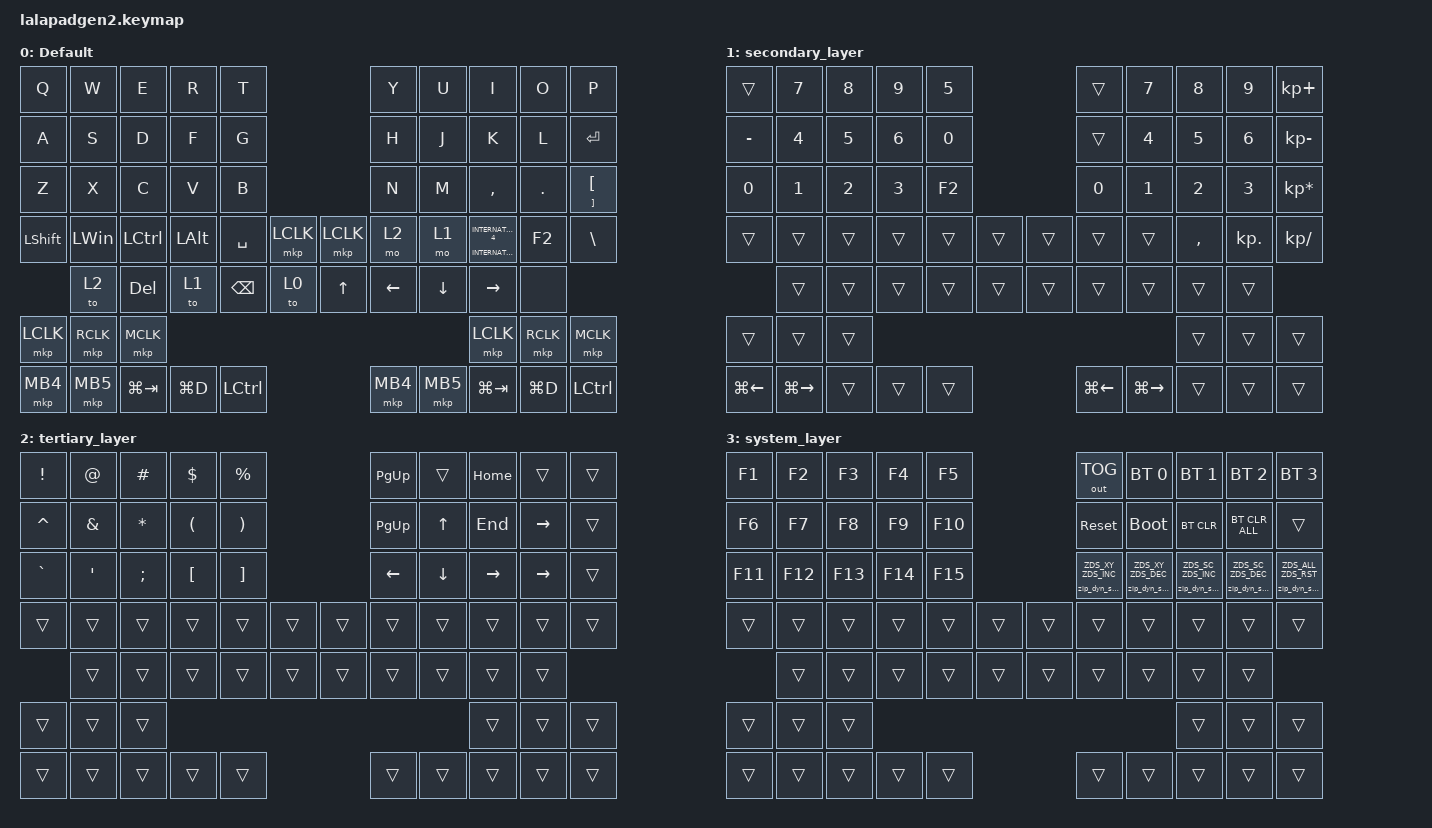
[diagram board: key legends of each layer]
#include <input/processors.dtsi>
#include <dt-bindings/zmk/zip_dynamic_scale.h>
#include <behaviors.dtsi>
#include <dt-bindings/zmk/bt.h>
#include <dt-bindings/zmk/keys.h>
#include <dt-bindings/zmk/outputs.h>
#include <dt-bindings/zmk/pointing.h>

#define DEFAULT_LAYER   0
#define SECONDARY_LAYER 1
#define TERTIARY_LAYER  2
#define SYSTEM_LAYER    3

&mt { quick-tap-ms = <200>; };

&lt { quick-tap-ms = <200>; };

/ {
    behaviors {
        zip_dyn_scale: zip_dyn_scale {
            compatible = "zmk,behavior-zip-dynamic-scale";
            #binding-cells = <2>;
        };

        zip_dyn_scale_set: zip_dyn_scale_set {
            compatible = "zmk,behavior-zip-dynamic-scale-set";
            #binding-cells = <2>;
        };

        mt2: mod_tap2 {
            compatible = "zmk,behavior-hold-tap";
            #binding-cells = <2>;
            flavor = "tap-preferred";
            tapping-term-ms = <200>;
            quick-tap-ms = <200>;
            require-prior-idle-ms = <125>;
            bindings = <&kp>, <&kp>;
        };

        tap_dance_layer_1and2: tap_dance_layer_1and2 {
            compatible = "zmk,behavior-tap-dance";
            label = "td_mo12";
            #binding-cells = <0>;
            bindings = <&mo 1>, <&mo 2>;
        };
    };

    combos {
        compatible = "zmk,combos";

        CONBO_ESC {
            bindings = <&kp ESCAPE>;
            key-positions = <0 1>;
        };

        COMBO_TAB {
            bindings = <&kp TAB>;
            key-positions = <10 11>;
        };

        bs {
            bindings = <&kp BACKSPACE>;
            key-positions = <8 9>;
        };

        del {
            bindings = <&kp DELETE>;
            key-positions = <9 8 7>;
        };

        backslash {
            bindings = <&kp BACKSLASH>;
            key-positions = <20 21>;
        };
    };

    keymap {
        compatible = "zmk,keymap";

        DEFAULT_LAYER {
            display-name = "Default";
            bindings = <
&kp Q           &kp W         &kp E        &kp R         &kp T                                &kp Y     &kp U     &kp I                                &kp O       &kp P
&kp A           &kp S         &kp D        &kp F         &kp G                                &kp H     &kp J     &kp K                                &kp L       &kp ENTER
&kp Z           &kp X         &kp C        &kp V         &kp B                                &kp N     &kp M     &kp COMMA                            &kp PERIOD  &mt RIGHT_BRACKET LEFT_BRACKET
&kp LEFT_SHIFT  &kp LEFT_WIN  &kp LCTRL    &kp LEFT_ALT  &kp SPACE      &mkp LCLK  &mkp LCLK  &mo 2     &mo 1     &mt INTERNATIONAL_5 INTERNATIONAL_4  &kp F2      &kp BACKSLASH
                &to 2         &kp DELETE   &to 1         &kp BACKSPACE  &to 0      &kp UP     &kp LEFT  &kp DOWN  &kp RIGHT                            &none
&mkp LCLK       &mkp RCLK     &mkp MCLK                                                                           &mkp LCLK                            &mkp RCLK   &mkp MCLK
&mkp MB4        &mkp MB5      &kp LG(TAB)  &kp LG(D)     &kp LCTRL                            &mkp MB4  &mkp MB5  &kp LG(TAB)                          &kp LG(D)   &kp LCTRL
            >;
        };

        SECONDARY_LAYER {
            display-name = "secondary_layer";
            bindings = <
&trans        &kp NUMBER_7   &kp NUMBER_8  &kp NUMBER_9  &kp N5                  &trans        &kp NUMBER_7   &kp NUMBER_8  &kp NUMBER_9  &kp KP_PLUS
&kp MINUS     &kp NUMBER_4   &kp NUMBER_5  &kp NUMBER_6  &kp N0                  &trans        &kp NUMBER_4   &kp NUMBER_5  &kp NUMBER_6  &kp KP_MINUS
&kp NUMBER_0  &kp NUMBER_1   &kp NUMBER_2  &kp NUMBER_3  &kp F2                  &kp NUMBER_0  &kp NUMBER_1   &kp NUMBER_2  &kp NUMBER_3  &kp KP_ASTERISK
&trans        &trans         &trans        &trans        &trans  &trans  &trans  &trans        &trans         &kp COMMA     &kp KP_DOT    &kp KP_DIVIDE
              &trans         &trans        &trans        &trans  &trans  &trans  &trans        &trans         &trans        &trans
&trans        &trans         &trans                                                                           &trans        &trans        &trans
&kp LG(LEFT)  &kp LG(RIGHT)  &trans        &trans        &trans                  &kp LG(LEFT)  &kp LG(RIGHT)  &trans        &trans        &trans
            >;
        };

        TERTIARY_LAYER {
            display-name = "tertiary_layer";
            bindings = <
&kp EXCLAMATION  &kp AT_SIGN    &kp HASH      &kp DOLLAR            &kp PERCENT                            &kp PAGE_UP     &trans          &kp HOME         &trans           &trans
&kp CARET        &kp AMPERSAND  &kp ASTERISK  &kp LEFT_PARENTHESIS  &kp RIGHT_PARENTHESIS                  &kp PAGE_UP     &kp UP_ARROW    &kp END          &kp RIGHT        &trans
&kp GRAVE        &kp SQT        &kp SEMI      &kp LEFT_BRACKET      &kp RIGHT_BRACKET                      &kp LEFT_ARROW  &kp DOWN_ARROW  &kp RIGHT_ARROW  &kp RIGHT_ARROW  &trans
&trans           &trans         &trans        &trans                &trans                 &trans  &trans  &trans          &trans          &trans           &trans           &trans
                 &trans         &trans        &trans                &trans                 &trans  &trans  &trans          &trans          &trans           &trans
&trans           &trans         &trans                                                                                                     &trans           &trans           &trans
&trans           &trans         &trans        &trans                &trans                                 &trans          &trans          &trans           &trans           &trans
            >;
        };

        SYSTEM_LAYER {
            display-name = "system_layer";
            bindings = <
&kp F1   &kp F2   &kp F3   &kp F4   &kp F5                   &out OUT_TOG                   &bt BT_SEL 0                   &bt BT_SEL 1                   &bt BT_SEL 2                   &bt BT_SEL 3
&kp F6   &kp F7   &kp F8   &kp F9   &kp F10                  &sys_reset                     &bootloader                    &bt BT_CLR                     &bt BT_CLR_ALL                 &trans
&kp F11  &kp F12  &kp F13  &kp F14  &kp F15                  &zip_dyn_scale ZDS_XY ZDS_INC  &zip_dyn_scale ZDS_XY ZDS_DEC  &zip_dyn_scale ZDS_SC ZDS_INC  &zip_dyn_scale ZDS_SC ZDS_DEC  &zip_dyn_scale ZDS_ALL ZDS_RST
&trans   &trans   &trans   &trans   &trans   &trans  &trans  &trans                         &trans                         &trans                         &trans                         &trans
         &trans   &trans   &trans   &trans   &trans  &trans  &trans                         &trans                         &trans                         &trans
&trans   &trans   &trans                                                                                                   &trans                         &trans                         &trans
&trans   &trans   &trans   &trans   &trans                   &trans                         &trans                         &trans                         &trans                         &trans
            >;
        };
    };

    conditional_layers {
        compatible = "zmk,conditional-layers";

        Cond_Syslayer {
            if-layers = <1 2>;
            then-layer = <3>;
        };
    };
};
